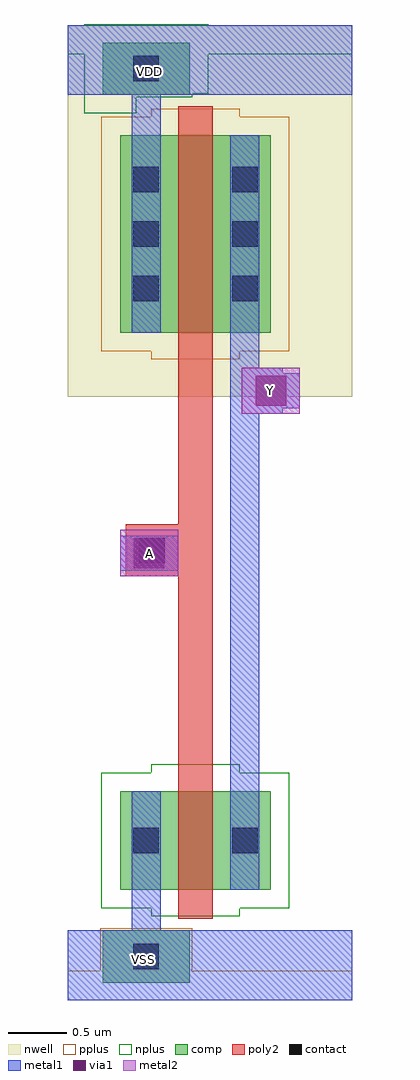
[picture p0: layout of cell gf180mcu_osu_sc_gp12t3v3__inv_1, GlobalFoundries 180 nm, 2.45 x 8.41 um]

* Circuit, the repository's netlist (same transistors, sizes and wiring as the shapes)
* Copyright 2022 Google LLC
*
* Licensed under the Apache License, Version 2.0 (the "License");
* you may not use this file except in compliance with the License.
* You may obtain a copy of the License at
*
*      http://www.apache.org/licenses/LICENSE-2.0
*
* Unless required by applicable law or agreed to in writing, software
* distributed under the License is distributed on an "AS IS" BASIS,
* WITHOUT WARRANTIES OR CONDITIONS OF ANY KIND, either express or implied.
* See the License for the specific language governing permissions and
* limitations under the License.

* NGSPICE file created from gf180mcu_osu_sc_gp12t3v3__inv_1.ext - technology: gf180mcuC

.subckt gf180mcu_osu_sc_gp12t3v3__inv_1 A Y VDD VSS
X0 Y A VSS VSS nfet_03v3 ad=0.425p pd=2.7u as=0.425p ps=2.7u w=0.85u l=0.3u
X1 Y A VDD VDD pfet_03v3 ad=0.85p pd=4.4u as=0.85p ps=4.4u w=1.7u l=0.3u
.ends

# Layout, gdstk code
import gdstk
lib = gdstk.Library(unit=1e-6, precision=1e-09)
def R(c, l, rs):  # rectangles x0, y0, x1, y1
    for r in rs: c.add(gdstk.rectangle(r[:2], r[2:], *l))
def A(c, l, x, y, w, h, nx, ny, dx, dy):  # array of equal rectangles
    R(c, l, [(x+i*dx, y+j*dy, x+i*dx+w, y+j*dy+h) for i in range(nx) for j in range(ny)])
nwell = (21, 0)
comp = (22, 0)
poly2 = (30, 0)
pplus = (31, 0)
nplus = (32, 0)
contact = (33, 0)
metal1 = (34, 0)
via1 = (35, 0)
metal2 = (36, 0)

gf180mcu_osu_sc_gp12t3v3 = lib.new_cell('gf180mcu_osu_sc_gp12t3v3__inv_1')
R(gf180mcu_osu_sc_gp12t3v3, nwell, [(0,5.2,2.45,8.4)])
R(gf180mcu_osu_sc_gp12t3v3, comp, [(0.3,0.15,1.05,0.6), (0.45,0.95,1.75,1.8), (0.45,5.75,1.75,7.45), (0.3,7.8,1.05,8.25)])
R(gf180mcu_osu_sc_gp12t3v3, poly2, [(0.95,0.7,1.25,3.65), (0.5,3.65,1.25,4.1), (0.95,4.1,1.25,7.7)])
R(gf180mcu_osu_sc_gp12t3v3, pplus, [(0,0,2.45,0.25), (0.28,0.25,1.07,0.62), (0.72,5.52,1.48,5.59), (0.29,5.59,1.91,7.61), (0.72,7.61,1.48,7.68)])
R(gf180mcu_osu_sc_gp12t3v3, nplus, [(0.72,0.72,1.48,0.79), (0.29,0.79,1.91,1.96), (0.72,1.96,1.48,2.03), (0.14,7.64,0.59,7.78), (0.14,7.78,1.07,7.81), (0.14,7.81,1.21,8.15), (0,8.15,2.45,8.4), (0.14,8.4,1.21,8.41)])
A(gf180mcu_osu_sc_gp12t3v3, contact, 0.565, 6.02, 0.22, 0.22, 1, 3, 0, 0.47)
A(gf180mcu_osu_sc_gp12t3v3, contact, 1.415, 6.02, 0.22, 0.22, 1, 3, 0, 0.47)
R(gf180mcu_osu_sc_gp12t3v3, contact, [(0.565,0.265,0.785,0.485), (0.565,1.265,0.785,1.485), (1.415,1.265,1.635,1.485), (0.615,3.765,0.835,3.985), (0.565,7.915,0.785,8.135)])
R(gf180mcu_osu_sc_gp12t3v3, metal1, [(0,0,2.45,0.6), (0.55,0.6,0.8,1.8), (1.4,0.95,1.65,5.05), (0.45,3.7,0.95,4), (1.4,5.05,1.85,5.1), (1.4,5.1,2,5.4), (1.4,5.4,1.85,5.45), (1.4,5.45,1.65,7.45), (0.55,5.75,0.8,7.8), (0,7.8,2.45,8.4)])
R(gf180mcu_osu_sc_gp12t3v3, via1, [(0.57,3.72,0.83,3.98), (1.62,5.12,1.88,5.38)])
R(gf180mcu_osu_sc_gp12t3v3, metal2, [(0.45,3.65,0.95,4.05), (1.5,5.05,2,5.45)])
gf180mcu_osu_sc_gp12t3v3.add(gdstk.Label('A', (0.7,3.85), layer=36, texttype=10))
gf180mcu_osu_sc_gp12t3v3.add(gdstk.Label('Y', (1.75,5.25), layer=36, texttype=10))
gf180mcu_osu_sc_gp12t3v3.add(gdstk.Label('VDD', (0.7,8), layer=34, texttype=10))
gf180mcu_osu_sc_gp12t3v3.add(gdstk.Label('VSS', (0.65,0.35), layer=34, texttype=10))

lib.write_gds('gf180mcu_osu_sc_gp12t3v3__inv_1.gds')
